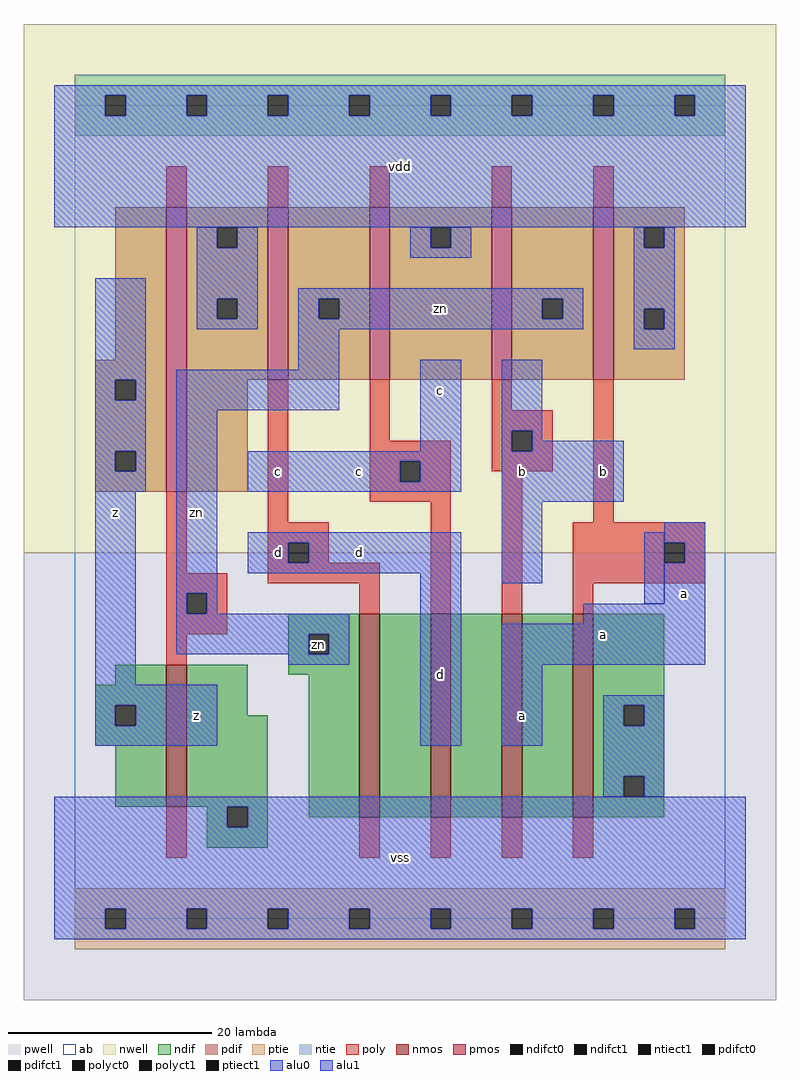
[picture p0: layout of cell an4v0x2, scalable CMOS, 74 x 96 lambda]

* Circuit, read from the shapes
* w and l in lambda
.subckt an4v0x2 a b c d vdd vss z zn
M1 vss zn z vss nfet w=14 l=2
M2 n1 d zn vss nfet w=20 l=2
M3 n2 c n1 vss nfet w=20 l=2
M4 n3 b n2 vss nfet w=20 l=2
M5 vss a n3 vss nfet w=20 l=2
M6 vdd zn z vdd pfet w=28 l=2
M7 zn d vdd vdd pfet w=17 l=2
M8 vdd c zn vdd pfet w=17 l=2
M9 zn b vdd vdd pfet w=17 l=2
M10 vdd a zn vdd pfet w=17 l=2
.ends

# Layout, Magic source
magic
tech scmos
<< ab >>
rect 0 0 64 80
<< nwell >>
rect -5 36 69 88
<< pwell >>
rect -5 -8 69 36
<< poly >>
rect 9 70 11 74
rect 19 70 21 74
rect 29 70 31 74
rect 41 70 43 74
rect 51 70 53 74
rect 9 34 11 42
rect 19 39 21 53
rect 29 47 31 53
rect 41 50 43 53
rect 41 48 47 50
rect 29 45 37 47
rect 29 43 32 45
rect 34 43 37 45
rect 41 46 43 48
rect 45 46 47 48
rect 41 44 47 46
rect 29 41 37 43
rect 19 37 25 39
rect 19 35 21 37
rect 23 35 25 37
rect 9 32 15 34
rect 19 33 30 35
rect 9 30 11 32
rect 13 30 15 32
rect 28 30 30 33
rect 35 30 37 41
rect 42 30 44 44
rect 51 39 53 53
rect 49 37 62 39
rect 49 35 58 37
rect 60 35 62 37
rect 49 33 62 35
rect 49 30 51 33
rect 9 28 15 30
rect 9 25 11 28
rect 9 6 11 11
rect 28 6 30 10
rect 35 6 37 10
rect 42 6 44 10
rect 49 6 51 10
<< ndif >>
rect 21 28 28 30
rect 21 26 23 28
rect 25 26 28 28
rect 4 23 9 25
rect 2 21 9 23
rect 2 19 4 21
rect 6 19 9 21
rect 2 17 9 19
rect 4 11 9 17
rect 11 20 17 25
rect 21 24 28 26
rect 11 11 19 20
rect 13 9 15 11
rect 17 9 19 11
rect 23 10 28 24
rect 30 10 35 30
rect 37 10 42 30
rect 44 10 49 30
rect 51 21 58 30
rect 51 19 54 21
rect 56 19 58 21
rect 51 14 58 19
rect 51 12 54 14
rect 56 12 58 14
rect 51 10 58 12
rect 13 7 19 9
<< pdif >>
rect 4 55 9 70
rect 2 53 9 55
rect 2 51 4 53
rect 6 51 9 53
rect 2 46 9 51
rect 2 44 4 46
rect 6 44 9 46
rect 2 42 9 44
rect 11 68 19 70
rect 11 66 14 68
rect 16 66 19 68
rect 11 61 19 66
rect 11 59 14 61
rect 16 59 19 61
rect 11 53 19 59
rect 21 61 29 70
rect 21 59 24 61
rect 26 59 29 61
rect 21 53 29 59
rect 31 68 41 70
rect 31 66 35 68
rect 37 66 41 68
rect 31 53 41 66
rect 43 61 51 70
rect 43 59 46 61
rect 48 59 51 61
rect 43 53 51 59
rect 53 68 60 70
rect 53 66 56 68
rect 58 66 60 68
rect 53 60 60 66
rect 53 58 56 60
rect 58 58 60 60
rect 53 53 60 58
rect 11 42 17 53
<< alu1 >>
rect -2 81 66 82
rect -2 79 3 81
rect 5 79 11 81
rect 13 79 19 81
rect 21 79 27 81
rect 29 79 35 81
rect 37 79 43 81
rect 45 79 51 81
rect 53 79 59 81
rect 61 79 66 81
rect -2 68 66 79
rect 2 53 7 63
rect 2 51 4 53
rect 6 51 7 53
rect 2 46 7 51
rect 2 44 4 46
rect 6 44 7 46
rect 2 42 7 44
rect 2 23 6 42
rect 34 46 38 55
rect 17 45 38 46
rect 17 43 32 45
rect 34 43 38 45
rect 17 42 38 43
rect 42 48 46 55
rect 42 46 43 48
rect 45 47 46 48
rect 45 46 54 47
rect 42 41 54 46
rect 17 37 38 38
rect 17 35 21 37
rect 23 35 38 37
rect 17 34 38 35
rect 2 21 14 23
rect 2 19 4 21
rect 6 19 14 21
rect 2 17 14 19
rect 34 17 38 34
rect 42 33 46 41
rect 58 37 62 39
rect 60 35 62 37
rect 58 31 62 35
rect 50 29 62 31
rect 42 25 62 29
rect 42 17 46 25
rect -2 11 66 12
rect -2 9 15 11
rect 17 9 66 11
rect -2 1 66 9
rect -2 -1 3 1
rect 5 -1 11 1
rect 13 -1 19 1
rect 21 -1 27 1
rect 29 -1 35 1
rect 37 -1 43 1
rect 45 -1 51 1
rect 53 -1 59 1
rect 61 -1 66 1
rect -2 -2 66 -1
<< ptie >>
rect 0 1 64 3
rect 0 -1 3 1
rect 5 -1 11 1
rect 13 -1 19 1
rect 21 -1 27 1
rect 29 -1 35 1
rect 37 -1 43 1
rect 45 -1 51 1
rect 53 -1 59 1
rect 61 -1 64 1
rect 0 -3 64 -1
<< ntie >>
rect 0 81 64 83
rect 0 79 3 81
rect 5 79 11 81
rect 13 79 19 81
rect 21 79 27 81
rect 29 79 35 81
rect 37 79 43 81
rect 45 79 51 81
rect 53 79 59 81
rect 61 79 64 81
rect 0 77 64 79
<< nmos >>
rect 9 11 11 25
rect 28 10 30 30
rect 35 10 37 30
rect 42 10 44 30
rect 49 10 51 30
<< pmos >>
rect 9 42 11 70
rect 19 53 21 70
rect 29 53 31 70
rect 41 53 43 70
rect 51 53 53 70
<< polyct0 >>
rect 11 30 13 32
<< polyct1 >>
rect 32 43 34 45
rect 43 46 45 48
rect 21 35 23 37
rect 58 35 60 37
<< ndifct0 >>
rect 23 26 25 28
rect 54 19 56 21
rect 54 12 56 14
<< ndifct1 >>
rect 4 19 6 21
rect 15 9 17 11
<< ntiect1 >>
rect 3 79 5 81
rect 11 79 13 81
rect 19 79 21 81
rect 27 79 29 81
rect 35 79 37 81
rect 43 79 45 81
rect 51 79 53 81
rect 59 79 61 81
<< ptiect1 >>
rect 3 -1 5 1
rect 11 -1 13 1
rect 19 -1 21 1
rect 27 -1 29 1
rect 35 -1 37 1
rect 43 -1 45 1
rect 51 -1 53 1
rect 59 -1 61 1
<< pdifct0 >>
rect 14 66 16 68
rect 14 59 16 61
rect 24 59 26 61
rect 35 66 37 68
rect 46 59 48 61
rect 56 66 58 68
rect 56 58 58 60
<< pdifct1 >>
rect 4 51 6 53
rect 4 44 6 46
<< alu0 >>
rect 12 66 14 68
rect 16 66 18 68
rect 12 61 18 66
rect 33 66 35 68
rect 37 66 39 68
rect 33 65 39 66
rect 55 66 56 68
rect 58 66 59 68
rect 12 59 14 61
rect 16 59 18 61
rect 12 58 18 59
rect 22 61 50 62
rect 22 59 24 61
rect 26 59 46 61
rect 48 59 50 61
rect 22 58 50 59
rect 55 60 59 66
rect 55 58 56 60
rect 58 58 59 60
rect 22 54 26 58
rect 55 56 59 58
rect 10 50 26 54
rect 10 32 14 50
rect 10 30 11 32
rect 13 30 14 32
rect 10 28 27 30
rect 10 26 23 28
rect 25 26 27 28
rect 21 25 27 26
rect 56 31 58 38
rect 52 21 58 22
rect 52 19 54 21
rect 56 19 58 21
rect 52 14 58 19
rect 52 12 54 14
rect 56 12 58 14
<< labels >>
rlabel alu0 12 40 12 40 6 zn
rlabel ndifct0 24 27 24 27 6 zn
rlabel alu0 36 60 36 60 6 zn
rlabel alu1 12 20 12 20 6 z
rlabel alu1 4 40 4 40 6 z
rlabel alu1 20 36 20 36 6 d
rlabel alu1 28 36 28 36 6 d
rlabel alu1 20 44 20 44 6 c
rlabel alu1 28 44 28 44 6 c
rlabel alu1 32 6 32 6 6 vss
rlabel alu1 44 20 44 20 6 a
rlabel alu1 36 24 36 24 6 d
rlabel alu1 44 44 44 44 6 b
rlabel alu1 36 52 36 52 6 c
rlabel alu1 32 74 32 74 6 vdd
rlabel alu1 52 28 52 28 6 a
rlabel alu1 60 32 60 32 6 a
rlabel alu1 52 44 52 44 6 b
<< end >>
